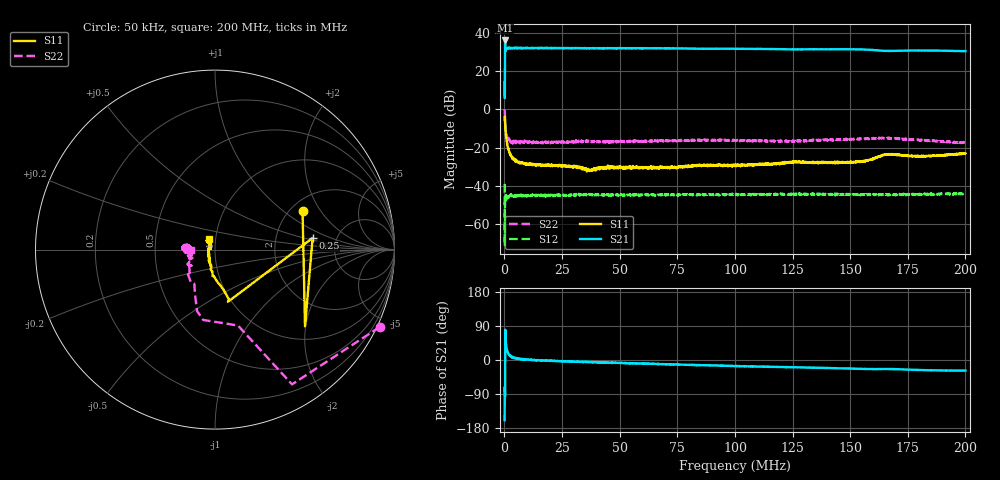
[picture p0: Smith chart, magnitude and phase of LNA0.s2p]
! 19-Feb-26 1:19:09 PM
! E:\VNA_MEASUREMENTS\RECBLOCK\LNA0.S2P
! CHANNEL.1
! TR.MEASUREMENT
! CORRECTED.DATA
# GHZ S RI R 50.0
! FREQ.GHZ  S11RE  S11IM  S21RE  S21IM  S12RE  S12IM  S22RE  S22IM
!; PortSelection: Port_12
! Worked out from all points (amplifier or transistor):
!   2000 points, 50 kHz to 200 MHz, reference 50 ohm
!   highest |S21| = 36.1 dB at 250 kHz (marker M1)
!   |S21| within 3 dB of that: 240.1 kHz to 302.5 kHz (62.32 kHz wide, 23 % of centre)
!   unconditionally stable (mu >= 1): 78.1 kHz to end of sweep
!   at 33.36 MHz: K = 2.13, MAG = 32.2 dB, |S12| = -44.4 dB
!   at 100.1 MHz: K = 2.25, MAG = 31.9 dB, |S12| = -44.6 dB
!   at 200 MHz: K = 2.47, MAG = 30.6 dB, |S12| = -44.3 dB
!   S11 on the Smith chart (normalised r, x): 50 kHz: 2.31, +1.40; 250 kHz: 3.30, +0.61; 200 MHz: 0.92, +0.11
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5e-05  0.4878 0.2173  -4.872 -1.894  0.0106 0.0039  0.9183 -0.4307
0.00025005  0.5436 0.0648  -6.753 -63.6  -0.00251 0.00284  0.1282 -0.4231
0.00065015  0.032 -0.2028  28.61 26.9  0.00442 0.00363  -0.1151 -0.1901
0.0012503  -0.016 -0.1219  37.62 15.76  0.00448 0.00125  -0.1417 -0.1303
0.001350325  -0.0247 -0.1098  38.59 14.47  0.00476 0.00239  -0.1433 -0.0858
0.00145035  -0.0203 -0.1002  37.98 13.49  0.00499 0.0016  -0.14 -0.099
0.0016504  -0.024 -0.0945  38.69 11.63  0.00528 0.00126  -0.1317 -0.0899
0.00185045  -0.0224 -0.0832  40.1 10.21  0.00526 0.000871  -0.1312 -0.0892
0.00265065  -0.0353 -0.0567  39.69 7.108  0.00541 0.000906  -0.1383 -0.0546
0.0036509  -0.0347 -0.0395  40.35 3.993  0.00515 0.00132  -0.1441 -0.0239
0.004751176  -0.0314 -0.0287  40.9 3.591  0.00557 0.000957  -0.1317 -0.0194
0.008852201  -0.0358 -0.014  40.38 0.634  0.0055 0.000159  -0.1462 -0.0206
0.0168542  -0.0341 -0.00233  40.45 -1.177  0.00595 0.000252  -0.1353 -0.0187
0.03345835  -0.0287 0.0106  40.14 -3.378  0.00611 -0.000153  -0.1539 -0.0113
0.06676668  -0.0249 0.0155  39.21 -7.585  0.00576 -0.000505  -0.1445 -0.0151
0.100075  -0.0279 0.0214  37.23 -10.71  0.00585 -0.000651  -0.1575 5.51e-05
0.1249812  -0.0292 0.0301  35.41 -12.22  0.0059 -0.000891  -0.1457 -0.00874
0.1333833  -0.0272 0.0304  35.23 -13  0.00591 -0.0011  -0.1524 -0.0113
0.1551888  -0.0273 0.0345  34.1 -14.78  0.00584 -0.00126  -0.1698 -0.00281
0.1666917  -0.0436 0.0504  31.1 -13.59  0.00573 -0.00119  -0.1763 0.0158
0.1845961  -0.0334 0.0486  30.84 -15.73  0.00614 -0.00125  -0.1477 0.0168
0.2  -0.0362 0.0607  29.62 -15.69  0.00591 -0.00162  -0.1341 -0.000428
